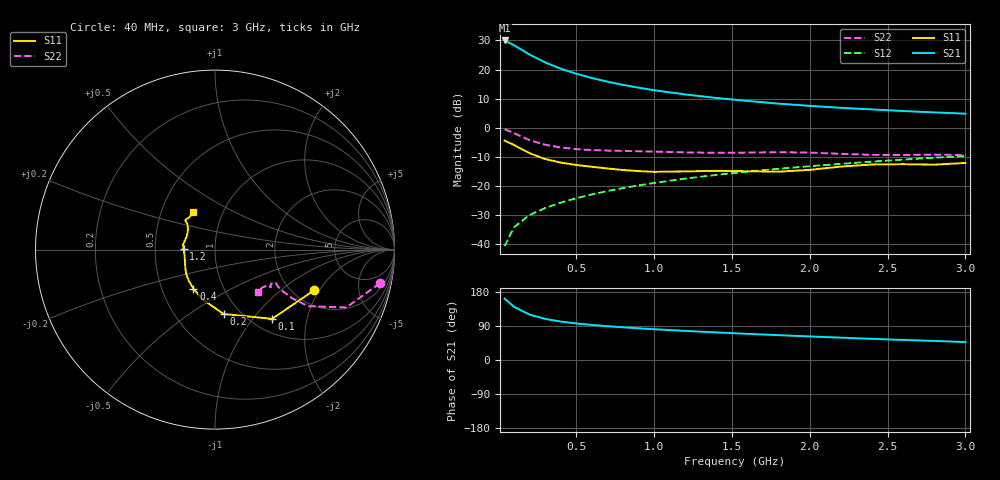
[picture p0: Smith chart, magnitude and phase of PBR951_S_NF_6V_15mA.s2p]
! Filename:  PBR951O.S2P  Version:  3.0
! Philips part #:  PBR951  Date: July 1998
! Bias condition:  Vce=6V, Ic=15mA
#  MHz  S  MA  R 50
! Freq  S11  S21  S12  S22
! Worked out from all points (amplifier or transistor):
!   21 points, 40 MHz to 3 GHz, reference 50 ohm
!   highest |S21| = 30.0 dB at 40 MHz (marker M1)
!   |S21| within 3 dB of that: start of sweep to 142.1 MHz
!   unconditionally stable (mu >= 1): 776.9 MHz to 2.22 GHz
!   at 300 MHz: K = 0.80, MSG = 25.1 dB, |S12| = -27.8 dB
!   at 1 GHz: K = 1.03, MAG = 15.0 dB, |S12| = -19.1 dB
!   at 3 GHz: K = 0.96, MSG = 7.3 dB, |S12| = -9.8 dB
!   lowest NFmin = 1.59 dB at 500 MHz
!   S11 on the Smith chart (normalised r, x): 40 MHz: 2.56, -1.80; 100 MHz: 1.22, -1.26; 200 MHz: 0.84, -0.69; 400 MHz: 0.72, -0.34; 1.2 GHz: 0.70, +0.00; 3 GHz: 0.72, +0.33
40  0.5967 -22.3  31.66 161.7  0.009031 80.8  0.9379 -11.5
100  0.5002 -50.5  26.19 140.6  0.01907 72.1  0.7995 -23.8
200  0.3616 -82.5  18.1 119.7  0.03113 68.4  0.6066 -31.3
300  0.287 -103.6  13.26 108.6  0.04088 69.5  0.5057 -32.2
400  0.2491 -118.8  10.35 101.5  0.05088 70.8  0.4533 -31.7
500  0.2264 -130.4  8.452 96.4  0.06048 72.4  0.4249 -31.1
600  0.2108 -139.1  7.136 92.5  0.07027 73.6  0.4093 -30.6
700  0.1969 -146.9  6.175 89.2  0.08047 74.4  0.4008 -30.0
800  0.1854 -154.0  5.437 86.3  0.09035 75.1  0.3953 -29.4
900  0.1776 -161.0  4.864 83.6  0.1006 75.5  0.39 -29.0
1000  0.1725 -168.5  4.397 81.2  0.1107 75.6  0.385 -28.7
1200  0.1754 179.5  3.716 76.8  0.1317 75.6  0.3733 -29.4
1400  0.1796 171.2  3.235 72.8  0.1528 75.2  0.3669 -31.4
1600  0.1764 164.9  2.872 69.0  0.1737 74.8  0.3702 -33.5
1800  0.1734 155.1  2.583 65.6  0.1947 74.2  0.3755 -34.0
2000  0.1865 143.3  2.362 62.1  0.2156 73.3  0.3697 -33.9
2200  0.2124 137.0  2.186 59.0  0.2368 72.3  0.3522 -34.8
2400  0.2308 135.8  2.052 55.9  0.2585 71.3  0.3381 -38.5
2600  0.2336 134.9  1.925 52.9  0.2803 70.3  0.3363 -42.9
2800  0.2294 128.6  1.824 50.3  0.3021 69.1  0.3415 -45.0
3000  0.2451 120.0  1.732 47.3  0.3234 67.9  0.3349 -44.4
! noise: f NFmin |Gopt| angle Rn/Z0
500  1.594  0.079  94.37  0.147
800  1.603  0.118  126.5  0.145
900  1.643  0.143  136.4  0.128
1000  1.703  0.147  140.2  0.12
1500  1.969  0.283  171  0.07
2000  2.384  0.381  -133.3  0.176
